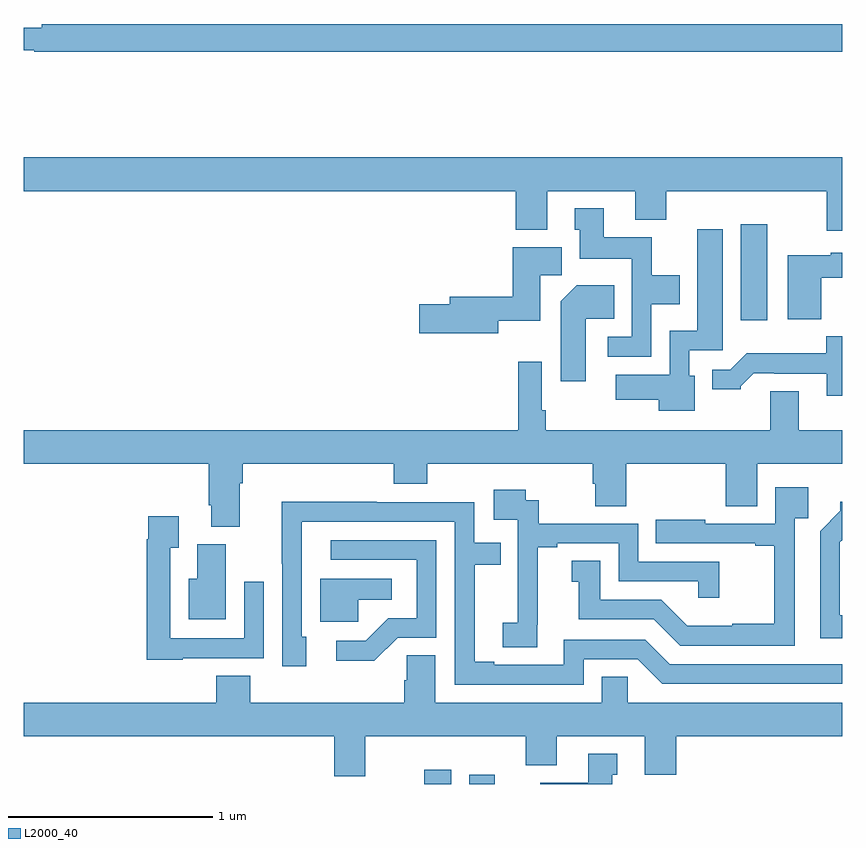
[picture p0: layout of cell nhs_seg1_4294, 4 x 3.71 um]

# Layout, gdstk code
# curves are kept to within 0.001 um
import gdstk
lib = gdstk.Library(unit=1e-6, precision=1e-09)
def R(c, l, rs):  # rectangles x0, y0, x1, y1
    for r in rs: c.add(gdstk.rectangle(r[:2], r[2:], *l))
def P(c, l, *ps):  # polygons
    for p in ps: c.add(gdstk.Polygon(p, *l))
L2000_40 = (2000, 40)

nhs_seg1_4294 = lib.new_cell('nhs_seg1_4294')
R(nhs_seg1_4294, L2000_40, [(346.958,518.199,347.089,518.269), (347.177,518.199,347.302,518.245), (348.503,520.464,348.634,520.933)])
P(nhs_seg1_4294, L2000_40, [(349,521.912),(345.088,521.912),(345.088,521.893),(345,521.893),(345,521.784),(345.052,521.784),(345.052,521.776),(349,521.776)],
  [(349,521.26),(345,521.26),(345,521.096),(347.405,521.096),(347.405,520.907),(347.557,520.907),(347.557,521.096),(347.987,521.096),(347.987,520.955),(348.14,520.955),(348.14,521.096),(348.923,521.096),(348.923,520.902),(349,520.902)],
  [(348.066,520.544),(348.205,520.544),(348.205,520.684),(348.069,520.684),(348.069,520.87),(347.833,520.87),(347.833,521.011),(347.693,521.011),(347.693,520.908),(347.717,520.908),(347.717,520.766),(347.97,520.766),(347.97,520.383),(347.853,520.383),(347.853,520.287),(348.066,520.287)],
  [(348.28,520.194),(348.252,520.194),(348.252,520.317),(348.415,520.317),(348.415,520.909),(348.29,520.909),(348.29,520.414),(348.156,520.414),(348.156,520.198),(347.892,520.198),(347.892,520.076),(348.104,520.076),(348.104,520.022),(348.28,520.022)],
  [(347.32,520.463),(347.524,520.463),(347.524,520.684),(347.629,520.684),(347.629,520.822),(347.39,520.822),(347.39,520.58),(347.081,520.58),(347.081,520.544),(346.932,520.544),(346.932,520.402),(347.32,520.402)],
  [(348.896,520.673),(349,520.673),(349,520.795),(348.942,520.795),(348.942,520.783),(348.734,520.783),(348.734,520.469),(348.896,520.469)],
  [(347.746,520.472),(347.885,520.472),(347.885,520.636),(347.702,520.636),(347.624,520.558),(347.624,520.167),(347.746,520.167)],
  [(349,520.387),(348.921,520.387),(348.921,520.303),(348.532,520.303),(348.453,520.224),(348.365,520.224),(348.365,520.127),(348.504,520.127),(348.504,520.142),(348.568,520.206),(348.667,520.206),(348.667,520.203),(348.923,520.203),(348.923,520.097),(349,520.097)],
  [(346.057,519.668),(346.07,519.668),(346.07,519.764),(346.808,519.764),(346.808,519.665),(346.973,519.665),(346.973,519.764),(347.78,519.764),(347.78,519.666),(347.792,519.666),(347.792,519.556),(347.945,519.556),(347.945,519.764),(348.431,519.764),(348.431,519.556),(348.583,519.556),(348.583,519.764),(349,519.764),(349,519.928),(348.787,519.928),(348.787,520.118),(348.647,520.118),(348.647,519.928),(347.552,519.928),(347.552,520.024),(347.532,520.024),(347.532,520.261),(347.416,520.261),(347.416,519.928),(345,519.928),(345,519.764),(345.905,519.764),(345.905,519.562),(345.917,519.562),(345.917,519.457),(346.057,519.457)],
  [(348.768,519.497),(348.833,519.497),(348.833,519.649),(348.672,519.649),(348.672,519.471),(348.331,519.471),(348.331,519.49),(348.088,519.49),(348.088,519.375),(348.575,519.375),(348.575,519.363),(348.667,519.363),(348.667,518.983),(348.461,518.983),(348.461,518.971),(348.242,518.971),(348.114,519.099),(347.818,519.099),(347.818,519.29),(347.678,519.29),(347.678,519.187),(347.711,519.187),(347.711,519.003),(348.078,519.003),(348.207,518.874),(348.768,518.874)],
  [(347.51,518.977),(347.512,518.977),(347.512,519.355),(347.608,519.355),(347.608,519.375),(347.907,519.375),(347.907,519.189),(348.297,519.189),(348.297,519.108),(348.398,519.108),(348.398,519.285),(348.003,519.285),(348.003,519.471),(347.516,519.471),(347.516,519.585),(347.454,519.585),(347.454,519.637),(347.298,519.637),(347.298,519.489),(347.415,519.489),(347.415,519.185),(347.414,519.185),(347.414,518.988),(347.34,518.988),(347.34,518.866),(347.51,518.866)],
  [(349,519.023),(348.988,519.023),(348.988,519.379),(349,519.391),(349,519.578),(348.99,519.578),(348.99,519.533),(348.891,519.434),(348.891,518.91),(349,518.91)],
  [(347.736,518.808),(348,518.808),(348.12,518.688),(349,518.688),(349,518.784),(348.156,518.784),(348.036,518.904),(347.64,518.904),(347.64,518.781),(347.299,518.781),(347.299,518.796),(347.203,518.796),(347.203,519.27),(347.33,519.27),(347.33,519.378),(347.202,519.378),(347.202,519.576),(346.724,519.576),(346.724,519.578),(346.262,519.578),(346.263,518.775),(346.381,518.775),(346.381,518.919),(346.359,518.919),(346.359,519.48),(347.106,519.48),(347.106,518.685),(347.736,518.685)],
  [(345.777,518.814),(346.173,518.814),(346.173,519.187),(346.077,519.187),(346.077,518.91),(345.717,518.91),(345.717,519.352),(345.757,519.352),(345.757,519.508),(345.609,519.508),(345.609,519.395),(345.601,519.395),(345.601,518.807),(345.777,518.807)],
  [(346.827,518.913),(347.016,518.913),(347.016,519.39),(346.5,519.39),(346.5,519.294),(346.92,519.294),(346.92,519.009),(346.782,519.009),(346.671,518.898),(346.527,518.898),(346.527,518.801),(346.714,518.801)],
  [(345.988,519.371),(345.848,519.371),(345.848,519.202),(345.806,519.202),(345.806,519.005),(345.988,519.005)],
  [(346.635,519.098),(346.798,519.098),(346.798,519.202),(346.448,519.202),(346.448,518.991),(346.635,518.991)],
  [(346.669,518.432),(347.453,518.432),(347.453,518.291),(347.605,518.291),(347.605,518.432),(348.035,518.432),(348.035,518.243),(348.188,518.243),(348.188,518.432),(349,518.432),(349,518.596),(347.952,518.596),(347.952,518.723),(347.825,518.723),(347.825,518.596),(347.011,518.596),(347.011,518.828),(346.872,518.828),(346.872,518.705),(346.859,518.705),(346.859,518.596),(346.106,518.596),(346.106,518.729),(345.941,518.729),(345.941,518.596),(345,518.596),(345,518.432),(346.517,518.432),(346.517,518.238),(346.669,518.238)],
  [(347.875,518.244),(347.899,518.244),(347.899,518.347),(347.759,518.347),(347.759,518.206),(347.524,518.206),(347.524,518.199),(347.875,518.199)])

lib.write_gds('nhs_seg1_4294.gds')
